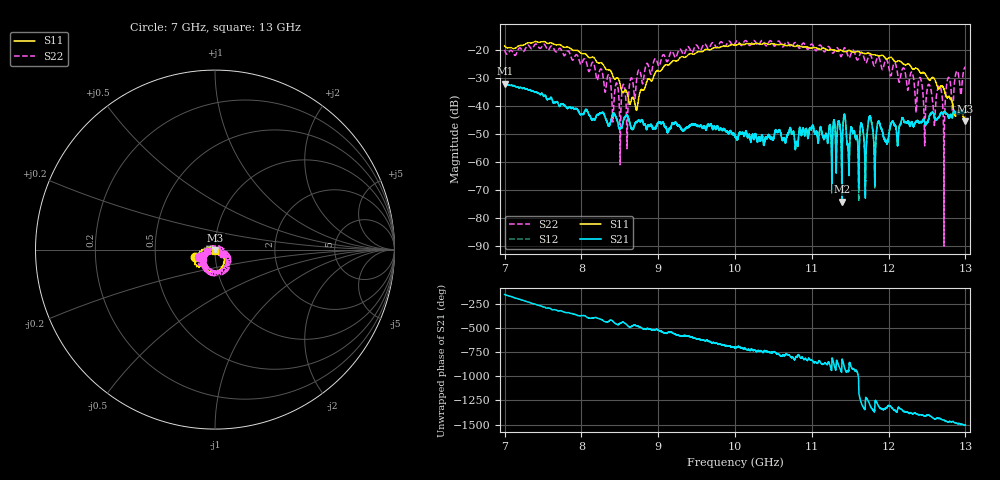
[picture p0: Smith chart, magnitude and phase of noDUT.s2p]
[Version] 2.0
! Rohde & Schwarz Vector Network Analyzer
! Rohde-Schwarz,ZNL20-2Port,1323001220200009,1.71.1.10-23.02.1.238
! Port Assignments:
! Nominal Port -> Actual Test Port
!  1 -> 1
!  2 -> 2
! Created: GMT+3 2024-09-24 12:12:07
# Hz S DB R 50
[Number of Ports] 2
[Two-Port Data Order] 21_12
! freq[Hz]  S11[mag dB]  S11[ang]  S21[mag dB]  S21[ang]  S12[mag dB]  S12[ang]  S22[mag dB]  S22[ang]
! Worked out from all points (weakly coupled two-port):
!   6001 points, 7 GHz to 13 GHz, reference 50 ohm
!   highest |S21| = -32.13 dB at 7.002 GHz (marker M1); lowest = -74.2 dB at 11.39 GHz (marker M2)
!   lowest |S11| = -45.6 dB at 13 GHz (marker M3), VSWR 1.01, Z = 50.2 - j0.498 ohm
!   |S11| at or under -10 dB: start of sweep to end of sweep
!   |S22| runs from -90.1 to -16.7 dB; largest |S21 - S12| = 0.00044
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[Number of Frequencies] 22
[Network Data]
7e9  -18.66 -159.9  -32.15 -151.3  -32.15 -151.3  -20.05 -156.3
7.002e9  -18.72 -159.6  -32.13 -151.9  -32.16 -152.0  -20.22 -156.0
8e9  -21.36 -171.2  -43.06 -9.3  -43.01 -10.1  -25.20 -169.6
8.504e9  -32.33 150.2  -47.96 -91.0  -48.49 -90.2  -61.04 111.2
8.716e9  -41.65 35.1  -45.81 -116.2  -45.83 -117.5  -31.53 -18.0
9e9  -27.51 -18.2  -46.17 -159.9  -46.01 -160.8  -25.51 -9.4
1e10  -18.45 -81.5  -50.64 19.6  -50.49 18.9  -17.80 -78.7
1.1e10  -19.43 -126.8  -47.85 -112.4  -47.98 -113.1  -17.97 -119.1
1.1391e10  -20.30 -138.3  -74.19 -178.3  -73.98 -152.0  -22.11 -138.9
1.1697e10  -21.47 -149.5  -73.00 150.1  -72.61 167.2  -24.49 -141.9
1.1758e10  -21.39 -151.5  -43.73 140.3  -43.68 139.6  -21.84 -148.6
1.2e10  -23.01 -162.3  -50.90 136.3  -50.87 138.7  -25.81 -141.2
1.2303e10  -26.53 -170.6  -45.87 55.5  -45.89 55.4  -27.99 -159.0
1.2358e10  -26.62 -172.7  -45.54 53.3  -45.62 53.4  -42.45 -160.1
1.2413e10  -28.18 -172.9  -45.90 41.8  -45.81 41.2  -30.00 -154.2
1.2471e10  -28.43 -176.8  -46.05 26.3  -46.02 26.4  -54.01 51.4
1.2664e10  -33.73 178.0  -43.72 4.1  -43.69 1.7  -32.83 -53.5
1.2717e10  -33.88 -167.8  -42.54 -12.0  -42.28 -13.6  -51.41 42.1
1.2775e10  -36.87 172.5  -43.54 -34.2  -43.57 -35.3  -30.01 -41.4
1.2833e10  -39.28 -155.1  -43.73 -27.4  -43.84 -27.4  -43.37 -29.0
1.2997e10  -45.62 -71.4  -42.32 -63.2  -42.18 -65.1  -26.23 -31.0
1.3e10  -45.26 -73.0  -42.04 -64.0  -41.98 -65.3  -26.23 -27.9
[End]
